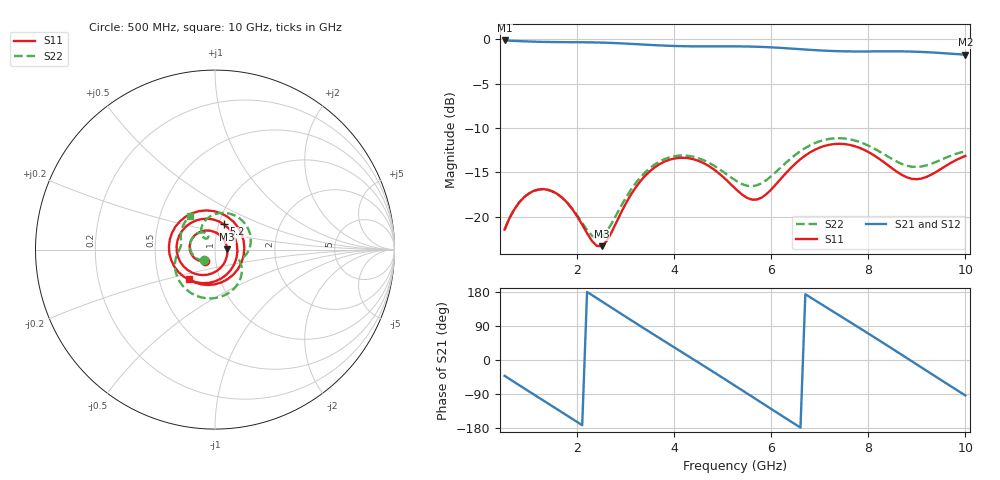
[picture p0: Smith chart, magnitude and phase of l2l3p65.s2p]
! Touchstone file exported from HFSS 3D Layout Design 2026.1.0
!  File:  D:/Work/ADS/HFSS_VERDICT/hfss_sma_connector_cpw.aedt
!  Generated:  01:56:02 PM Aug  6, 2026
!  Design:  SINGLE_END_SMA_CPW_30MM
!  Project:  hfss_sma_connector_cpw
! Variables:
!  $sma_Base_D = 6.25mm
!  $sma_Base_L = 8mm
!  $sma_Feet_L = 4mm
!  $sma_Feet_W = 1mm
!  $sma_Front_L = 1.5mm
!  $sma_Front_W = 6.5mm
!  $sma_Hole_D = 1.25mm
!  $sma_PTFE_D = 4.2mm
!  $sma_Pin_D = 0.95mm
!  $sma_Pin_P = 1.7mm
# GHz S MA R 50.000000
! Terminal data exported
! Port[1] = Port1
! Port[2] = S1_1_Pin_T1
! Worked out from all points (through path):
!   96 points, 500 MHz to 10 GHz, reference 50 ohm
!   highest |S21| = -0.12 dB at 500 MHz (marker M1); lowest = -1.7 dB at 10 GHz (marker M2)
!   group delay of S21, straight-line fit = 225 ps
!   lowest |S11| = -23.3 dB at 2.5 GHz (marker M3), VSWR 1.15, Z = 57.3 + j0.194 ohm
!   |S11| at or under -10 dB: start of sweep to end of sweep
!   |S22| runs from -22.4 to -11.1 dB; largest |S21 - S12| = 1.6e-14
!   S11 on the Smith chart (normalised r, x): 500 MHz: 0.89, -0.12; 5.2 GHz: 1.06, +0.30; 10 GHz: 0.71, -0.25
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0.5  0.08468 -130.6  0.9864 -41.7  0.9864 -41.7  0.08498 -134.6
0.9  0.1289 -162.8  0.9756 -74.5  0.9756 -74.5  0.129 -168.7
1.3  0.1433 164.1  0.9682 -107.0  0.9682 -107.0  0.1429 159.5
1.7  0.1273 127.6  0.965 -139.5  0.965 -139.5  0.1271 132.0
2.1  0.09021 80.0  0.9634 -172.1  0.9634 -172.1  0.0925 116.4
2.5  0.06834 1.4  0.9592 155.0  0.9592 155.0  0.07687 127.7
3.1  0.1328 -96.2  0.9439 105.8  0.9439 105.8  0.1416 122.5
3.7  0.1985 -152.0  0.9251 57.2  0.9251 57.2  0.2055 82.6
4.4  0.2109 150.2  0.9137 1.1  0.9137 1.1  0.2178 30.8
4.8  0.1863 114.2  0.9133 -31.2  0.9133 -31.2  0.1955 4.4
5.2  0.1493 70.2  0.9136 -63.7  0.9136 -63.7  0.1644 -14.8
5.3  0.1406 57.1  0.9133 -71.9  0.9133 -71.9  0.1578 -17.9
5.7  0.1251 -4.7  0.909 -104.8  0.909 -104.8  0.1505 -24.6
6.2  0.1644 -77.5  0.8954 -145.8  0.8954 -145.8  0.1905 -38.1
6.9  0.2391 -148.8  0.8698 157.6  0.8698 157.6  0.2606 -78.7
7.3  0.2572 176.2  0.8594 125.7  0.8594 125.7  0.277 -105.7
7.7  0.251 140.8  0.8552 93.8  0.8552 93.8  0.2703 -132.1
8.1  0.2235 102.3  0.8556 61.7  0.8556 61.7  0.2441 -155.8
8.5  0.1867 56.8  0.8566 29.2  0.8566 29.2  0.2108 -174.1
9.2  0.1679 -41.0  0.8472 -28.4  0.8472 -28.4  0.195 166.0
9.6  0.1939 -90.7  0.8343 -61.1  0.8343 -61.1  0.2156 149.7
10  0.2204 -131.0  0.8199 -93.5  0.8199 -93.5  0.2338 126.4
